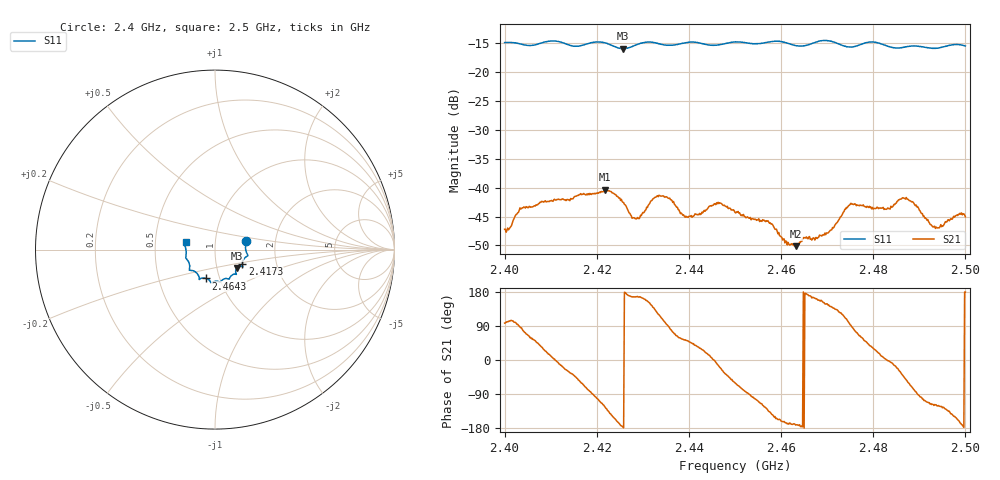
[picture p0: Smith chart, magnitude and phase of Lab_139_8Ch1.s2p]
# Hz S RI R 50
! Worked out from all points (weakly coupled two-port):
!   601 points, 2.4 GHz to 2.5 GHz, reference 50 ohm
!   highest |S21| = -40.35 dB at 2.4218 GHz (marker M1); lowest = -50.1 dB at 2.4632 GHz (marker M2)
!   lowest |S11| = -15.9 dB at 2.4257 GHz (marker M3), VSWR 1.38, Z = 62.4 - j13.1 ohm
!   |S11| at or under -10 dB: start of sweep to end of sweep
!   S12 and S22 are empty: the file has one direction only
!   S11 on the Smith chart (normalised r, x): 2.4 GHz: 1.41, +0.15; 2.4173 GHz: 1.34, -0.23; 2.4643 GHz: 0.86, -0.28; 2.5 GHz: 0.72, +0.06
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2.4e9  0.1735 0.0498  -0.000557 0.00433  0 0  0 0
2.403833e9  0.1721 0.027  0.00107 0.00662  0 0  0 0
2.416667e9  0.1532 -0.0744  0.00423 -0.00762  0 0  0 0
2.417333e9  0.1527 -0.0818  0.00317 -0.00821  0 0  0 0
2.421833e9  0.1525 -0.0947  -0.00551 -0.00786  0 0  0 0
2.425667e9  0.1224 -0.1026  -0.00748 -0.000389  0 0  0 0
2.428833e9  0.1156 -0.1303  -0.0054 0.00117  0 0  0 0
2.433333e9  0.1127 -0.1366  -0.00428 0.00717  0 0  0 0
2.435833e9  0.0956 -0.1416  0.000851 0.00808  0 0  0 0
2.4395e9  0.0806 -0.1618  0.00345 0.00437  0 0  0 0
2.4465e9  0.0434 -0.1671  0.00699 -0.00203  0 0  0 0
2.45e9  0.0295 -0.1806  0.00307 -0.00529  0 0  0 0
2.457333e9  -0.0154 -0.182  -0.00359 -0.00351  0 0  0 0
2.463167e9  -0.0378 -0.1656  -0.00309 -0.00045  0 0  0 0
2.464333e9  -0.0502 -0.1606  -0.00346 -0.00023  0 0  0 0
2.466667e9  -0.0763 -0.1598  -0.00338 0.000984  0 0  0 0
2.4705e9  -0.0874 -0.1651  -0.00332 0.00257  0 0  0 0
2.475e9  -0.1066 -0.1262  -0.000389 0.00718  0 0  0 0
2.483333e9  -0.141 -0.0896  0.00659 -0.000247  0 0  0 0
2.487167e9  -0.1568 -0.0552  0.00496 -0.00656  0 0  0 0
2.493833e9  -0.1614 -0.00353  -0.00233 -0.00385  0 0  0 0
2.5e9  -0.1636 0.042  -0.0056 7.15e-05  0 0  0 0
